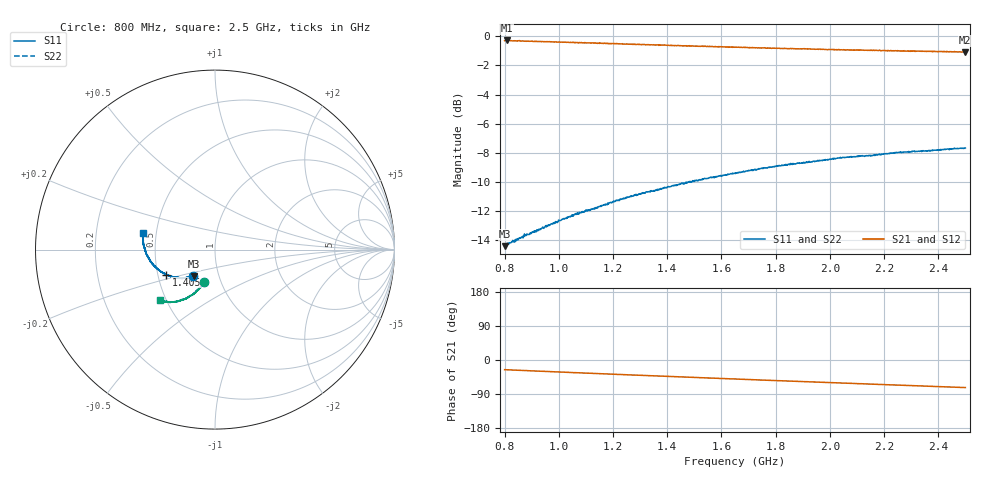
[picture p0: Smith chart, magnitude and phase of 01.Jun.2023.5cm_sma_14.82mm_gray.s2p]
!Keysight Technologies N9950B: A.12.38
!Date: Thursday, 01 June 2023 12:08:33
!Timezone: (UTC-06:00) Central Time (US & Canada)
!Model: N9950B
!Serial: MY61131330
!GPS Latitude:
!GPS Longitude:
!GPS TimeStamp: 0001-01-01 00:00:00Z
!GPS Seconds Since Last Read: 0
!CHECKSUM:0470900471
!Correction: S11(ON U)S21(ON U)S12(ON U)S22(ON U)
!S2P File: Measurements:S11,S21,S12,S22:
# Hz S DB R 50
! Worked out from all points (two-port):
!   1001 points, 800 MHz to 2.5 GHz, reference 50 ohm
!   highest |S21| = -0.29 dB at 810.2 MHz (marker M1); lowest = -1.1 dB at 2.498 GHz (marker M2)
!   |S21| within 3 dB of the highest: start of sweep to end of sweep
!   lowest |S11| = -14.4 dB at 801.7 MHz (marker M3), VSWR 1.47, Z = 37.8 - j11.7 ohm
!   |S11| at or under -10 dB: start of sweep to 1.47 GHz; 1.469805 GHz to 1.47658 GHz (6.775 MHz wide, 0.46 % of centre); 1.476686 GHz to 1.478797 GHz (2.111 MHz wide, 0.143 % of centre)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
!   |S22| runs from -14.3 to -7.6 dB; largest |S21 - S12| = 0.0043
!   S11 on the Smith chart (normalised r, x): 800 MHz: 0.75, -0.23; 1.405 GHz: 0.55, -0.17; 2.5 GHz: 0.42, +0.09
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8e8  -14.35 -128.9  -0.30 -25.5  -0.29 -25.6  -14.28 -108.7
8.017e8  -14.41 -128.6  -0.29 -25.6  -0.30 -25.7  -14.20 -108.6
8.102e8  -14.30 -129.5  -0.29 -25.9  -0.30 -25.9  -14.15 -108.5
8.782e8  -13.68 -132.2  -0.34 -27.9  -0.32 -28.0  -13.53 -110.0
9.598e8  -12.97 -135.5  -0.38 -30.4  -0.38 -30.4  -12.90 -111.2
9.989e8  -12.61 -137.0  -0.40 -31.5  -0.41 -31.6  -12.51 -112.2
1.0159e9  -12.54 -137.8  -0.41 -32.1  -0.40 -32.2  -12.44 -113.1
1.0839e9  -12.11 -140.3  -0.43 -34.1  -0.44 -34.0  -11.93 -113.7
1.1944e9  -11.43 -144.6  -0.51 -37.3  -0.52 -37.2  -11.26 -115.0
1.2471e9  -11.10 -146.7  -0.54 -38.7  -0.54 -38.8  -10.97 -116.9
1.3678e9  -10.56 -151.3  -0.60 -42.3  -0.60 -42.3  -10.39 -118.9
1.4052e9  -10.31 -152.8  -0.62 -43.2  -0.62 -43.4  -10.27 -120.0
1.5395e9  -9.76 -157.5  -0.68 -47.1  -0.69 -47.1  -9.67 -122.3
1.65e9  -9.39 -161.9  -0.76 -50.1  -0.75 -50.2  -9.29 -124.5
1.8081e9  -8.91 -167.4  -0.82 -54.4  -0.83 -54.4  -8.84 -126.8
1.9339e9  -8.61 -172.3  -0.88 -57.8  -0.89 -57.9  -8.52 -128.7
2.0427e9  -8.35 -176.4  -0.93 -60.8  -0.94 -60.8  -8.28 -130.4
2.2178e9  -8.05 177.4  -0.99 -65.5  -0.99 -65.3  -8.00 -133.2
2.3215e9  -7.91 173.6  -1.03 -68.1  -1.03 -68.1  -7.85 -134.5
2.4439e9  -7.72 169.2  -1.06 -71.4  -1.05 -71.2  -7.69 -136.6
2.4983e9  -7.70 167.4  -1.10 -72.6  -1.08 -72.7  -7.63 -137.1
2.5e9  -7.67 167.2  -1.06 -72.7  -1.06 -72.7  -7.62 -137.1
